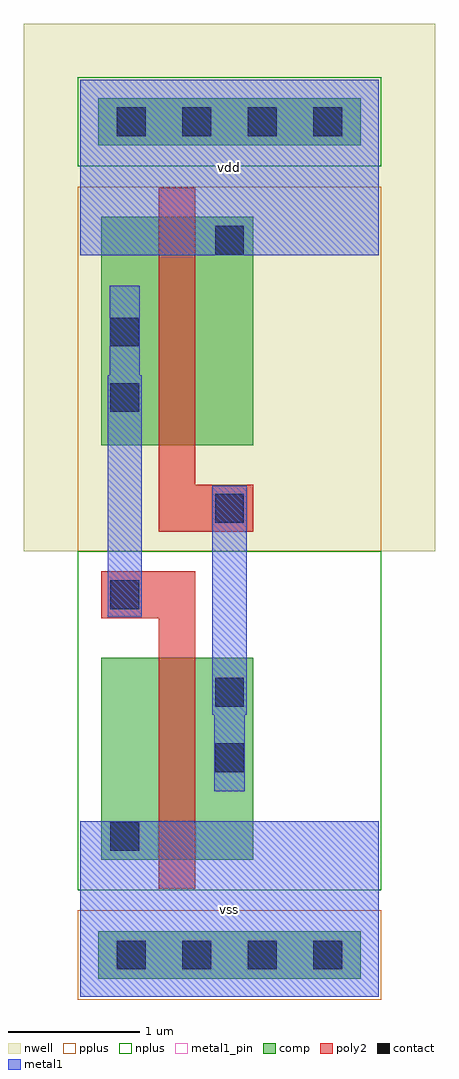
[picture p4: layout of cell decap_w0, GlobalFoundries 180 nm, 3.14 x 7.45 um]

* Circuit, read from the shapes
.subckt decap_w0 vdd vss
XM1 n1 n2 vss vss nfet_03v3 w=1.545u l=0.28u
XM2 vdd n1 n2 vdd pfet_03v3 w=1.745u l=0.28u
.ends

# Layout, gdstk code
import gdstk
lib = gdstk.Library(unit=1e-6, precision=1e-09)
def R(c, l, rs):  # rectangles x0, y0, x1, y1
    for r in rs: c.add(gdstk.rectangle(r[:2], r[2:], *l))
def A(c, l, x, y, w, h, nx, ny, dx, dy):  # array of equal rectangles
    R(c, l, [(x+i*dx, y+j*dy, x+i*dx+w, y+j*dy+h) for i in range(nx) for j in range(ny)])
def P(c, l, *ps):  # polygons
    for p in ps: c.add(gdstk.Polygon(p, *l))
nwell = (21, 0)
comp = (22, 0)
poly2 = (30, 0)
pplus = (31, 0)
nplus = (32, 0)
contact = (33, 0)
metal1 = (34, 0)
metal1_pin = (34, 10)

decap_w0 = lib.new_cell('decap_w0')
R(decap_w0, nwell, [(-0.43,3.4,2.71,7.43)])
R(decap_w0, comp, [(0.14,0.14,2.14,0.5), (0.16,1.045,1.32,2.59), (0.16,4.21,1.32,5.955), (0.14,6.5,2.14,6.86)])
P(decap_w0, poly2, [(0.6,0.825),(0.6,2.89),(0.16,2.89),(0.16,3.25),(0.88,3.25),(0.88,0.825)],
  [(0.6,3.55),(0.6,6.175),(0.88,6.175),(0.88,3.91),(1.32,3.91),(1.32,3.55)])
R(decap_w0, pplus, [(-0.02,-0.02,2.3,0.66), (-0.02,3.4,2.3,6.185)])
R(decap_w0, nplus, [(-0.02,0.815,2.3,3.4), (-0.02,6.34,2.3,7.02)])
A(decap_w0, contact, 0.28, 0.21, 0.22, 0.22, 4, 2, 0.5, 6.36)
R(decap_w0, contact, [(0.23,1.115,0.45,1.335), (1.03,1.715,1.25,1.935), (1.03,2.215,1.25,2.435), (0.23,2.96,0.45,3.18), (1.03,3.62,1.25,3.84), (0.23,4.465,0.45,4.685), (0.23,4.965,0.45,5.185), (1.03,5.665,1.25,5.885)])
R(decap_w0, metal1, [(0,0,2.28,1.34), (0,5.66,2.28,7)])
P(decap_w0, metal1, [(0.21,2.9),(0.21,4.745),(0.225,4.745),(0.225,5.43),(0.455,5.43),(0.455,4.745),(0.47,4.745),(0.47,2.9)],
  [(1.025,1.57),(1.025,2.155),(1.01,2.155),(1.01,3.9),(1.27,3.9),(1.27,2.155),(1.255,2.155),(1.255,1.57)])
R(decap_w0, metal1_pin, [(0,0,2.28,1.34), (0,5.66,2.28,7)])
decap_w0.add(gdstk.Label('vss', (1.14,0.67), layer=34, texttype=10))
decap_w0.add(gdstk.Label('vdd', (1.14,6.33), layer=34, texttype=10))

lib.write_gds('decap_w0.gds')
